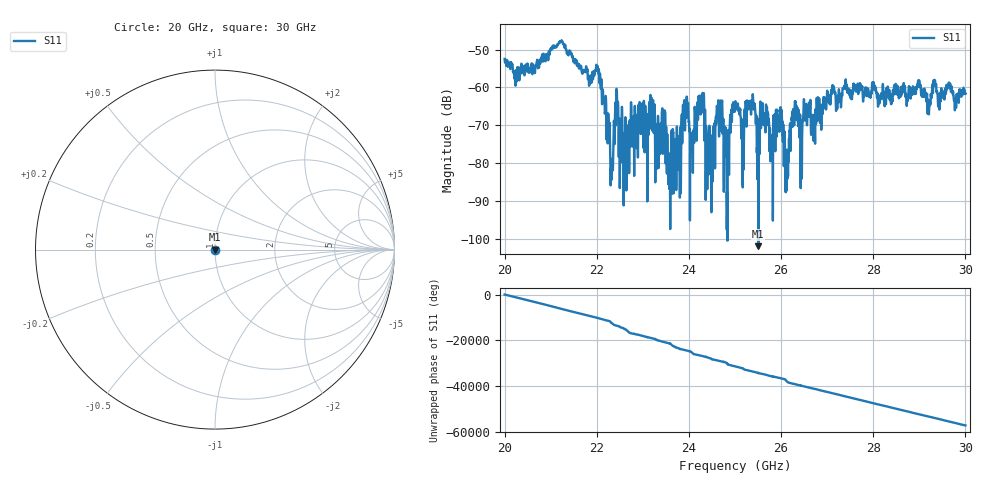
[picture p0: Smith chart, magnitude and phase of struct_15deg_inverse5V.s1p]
#  HZ  S  RI  R  50.00
! Rohde & Schwarz ZVA40 4Ports - Version 3.90 - 1145.1110k42 SN: 100403
! Date: 2023-09-30 06:25:42
! Measurement: S12
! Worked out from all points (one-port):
!   5001 points, 20 GHz to 30 GHz, reference 50 ohm
!   lowest |S11| = -102.0 dB at 25.51 GHz (marker M1), VSWR 1.00, Z = 50 + j5.34e-05 ohm
!   |S11| at or under -10 dB: start of sweep to end of sweep
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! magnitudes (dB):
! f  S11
! 20 GHz  -52.5
! 21.25 GHz  -47.8
! 22.03 GHz  -56.0
! 22.31 GHz  -82.7
! 22.42 GHz  -68.3
! 22.5 GHz  -86.6
! 22.63 GHz  -69.7
! 23.18 GHz  -67.5
! 23.31 GHz  -77.4
! 23.46 GHz  -68.6
! 23.57 GHz  -84.9
! 23.75 GHz  -77.6
! 23.91 GHz  -71.4
! 24.07 GHz  -72.1
! 24.28 GHz  -66.7
! 24.47 GHz  -74.4
! 24.65 GHz  -67.1
! 24.84 GHz  -99.1
! 25 GHz  -65.3
! 25.17 GHz  -75.4
! 25.38 GHz  -62.5
! 25.51 GHz  -102.0
! 25.97 GHz  -68.1
! 26.13 GHz  -80.8
! 26.25 GHz  -69.7
! 27.5 GHz  -62.1
! 28.75 GHz  -63.0
! 30 GHz  -61.6
